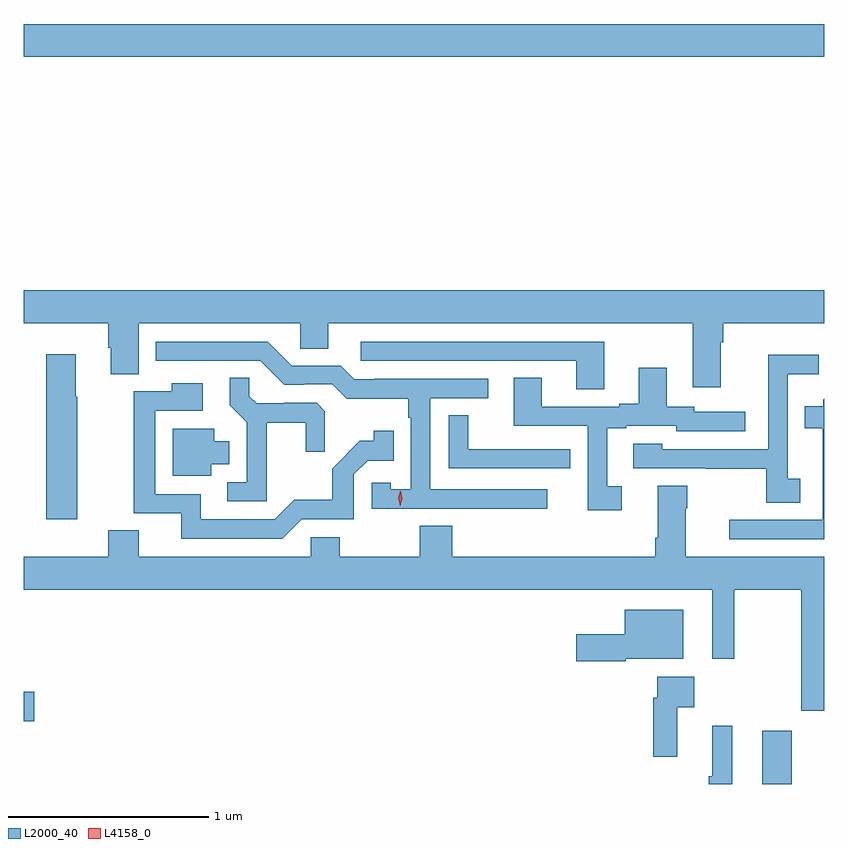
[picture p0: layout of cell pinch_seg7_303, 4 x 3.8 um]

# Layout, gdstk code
import gdstk
lib = gdstk.Library(unit=1e-6, precision=1e-09)
def R(c, l, rs):  # rectangles x0, y0, x1, y1
    for r in rs: c.add(gdstk.rectangle(r[:2], r[2:], *l))
def P(c, l, *ps):  # polygons
    for p in ps: c.add(gdstk.Polygon(p, *l))
L2000_40 = (2000, 40)
L4158_0 = (4158, 0)

pinch_seg7_303 = lib.new_cell('pinch_seg7_303')
R(pinch_seg7_303, L2000_40, [(547.439,1076.901,547.587,1077.166), (543.748,1077.215,543.799,1077.362), (543.748,1080.536,547.748,1080.7)])
P(pinch_seg7_303, L2000_40, [(547.231,1079.108),(547.244,1079.108),(547.244,1079.204),(547.748,1079.204),(547.748,1079.368),(543.748,1079.368),(543.748,1079.204),(544.169,1079.204),(544.169,1079.082),(544.181,1079.082),(544.181,1078.948),(544.321,1078.948),(544.321,1079.204),(545.13,1079.204),(545.13,1079.077),(545.269,1079.077),(545.269,1079.204),(547.091,1079.204),(547.091,1078.884),(547.231,1078.884)],
  [(546.649,1079.112),(545.433,1079.112),(545.433,1079.016),(546.509,1079.016),(546.509,1078.873),(546.649,1078.873)],
  [(546.364,1078.374),(545.778,1078.374),(545.778,1078.83),(546.07,1078.83),(546.07,1078.926),(545.5,1078.926),(545.5,1078.923),(545.4,1078.923),(545.331,1078.992),(545.088,1078.992),(544.968,1079.112),(544.406,1079.112),(544.406,1079.016),(544.929,1079.016),(545.049,1078.896),(545.15,1078.896),(545.15,1078.899),(545.289,1078.899),(545.362,1078.826),(545.67,1078.826),(545.67,1078.733),(545.682,1078.733),(545.682,1078.375),(545.583,1078.375),(545.583,1078.407),(545.487,1078.407),(545.487,1078.278),(545.971,1078.278),(545.971,1078.276),(546.364,1078.276)],
  [(544.014,1078.837),(544.006,1078.837),(544.006,1079.05),(543.86,1079.05),(543.86,1078.224),(544.014,1078.224)],
  [(547.63,1078.428),(547.566,1078.428),(547.566,1078.949),(547.72,1078.949),(547.72,1079.047),(547.468,1079.047),(547.468,1078.808),(547.47,1078.808),(547.47,1078.575),(546.939,1078.575),(546.939,1078.603),(546.795,1078.603),(546.795,1078.479),(547.153,1078.479),(547.153,1078.477),(547.458,1078.477),(547.458,1078.306),(547.63,1078.306)],
  [(546.736,1078.389),(546.664,1078.389),(546.664,1078.68),(546.76,1078.68),(546.76,1078.692),(547.008,1078.692),(547.008,1078.665),(547.354,1078.665),(547.354,1078.761),(547.098,1078.761),(547.098,1078.788),(546.961,1078.788),(546.961,1078.981),(546.821,1078.981),(546.821,1078.801),(546.725,1078.801),(546.725,1078.788),(546.337,1078.788),(546.337,1078.931),(546.197,1078.931),(546.197,1078.692),(546.567,1078.692),(546.567,1078.269),(546.736,1078.269)],
  [(544.961,1078.706),(545.158,1078.706),(545.158,1078.563),(545.252,1078.563),(545.252,1078.765),(545.211,1078.806),(545.046,1078.806),(545.046,1078.803),(544.912,1078.803),(544.875,1078.84),(544.875,1078.931),(544.777,1078.931),(544.777,1078.795),(544.863,1078.709),(544.863,1078.41),(544.764,1078.41),(544.764,1078.314),(544.961,1078.314)],
  [(545.136,1078.224),(545.397,1078.224),(545.397,1078.449),(545.466,1078.518),(545.597,1078.518),(545.597,1078.666),(545.496,1078.666),(545.496,1078.616),(545.426,1078.616),(545.289,1078.478),(545.289,1078.323),(545.1,1078.323),(545.001,1078.224),(544.633,1078.224),(544.633,1078.35),(544.404,1078.35),(544.404,1078.767),(544.642,1078.767),(544.642,1078.903),(544.486,1078.903),(544.486,1078.863),(544.296,1078.863),(544.296,1078.254),(544.535,1078.254),(544.535,1078.128),(545.04,1078.128)],
  [(547.748,1078.826),(547.743,1078.821),(547.743,1078.789),(547.651,1078.789),(547.651,1078.68),(547.742,1078.68),(547.742,1078.221),(547.275,1078.221),(547.275,1078.125),(547.748,1078.125)],
  [(546.478,1078.574),(546.365,1078.574),(546.365,1078.575),(545.97,1078.575),(545.97,1078.745),(545.871,1078.745),(545.871,1078.479),(546.478,1078.479)],
  [(544.684,1078.499),(544.774,1078.499),(544.774,1078.615),(544.699,1078.615),(544.699,1078.678),(544.493,1078.678),(544.493,1078.442),(544.684,1078.442)],
  [(547.748,1078.036),(547.057,1078.036),(547.057,1078.28),(547.065,1078.28),(547.065,1078.393),(546.917,1078.393),(546.917,1078.132),(546.905,1078.132),(546.905,1078.036),(545.888,1078.036),(545.888,1078.193),(545.728,1078.193),(545.728,1078.036),(545.328,1078.036),(545.328,1078.134),(545.181,1078.134),(545.181,1078.036),(544.321,1078.036),(544.321,1078.169),(544.169,1078.169),(544.169,1078.036),(543.748,1078.036),(543.748,1077.872),(547.19,1077.872),(547.19,1077.528),(547.3,1077.528),(547.3,1077.872),(547.634,1077.872),(547.634,1077.266),(547.748,1077.266)],
  [(546.756,1077.527),(547.045,1077.527),(547.045,1077.772),(546.752,1077.772),(546.752,1077.649),(546.51,1077.649),(546.51,1077.515),(546.756,1077.515)],
  [(547.013,1077.284),(547.099,1077.284),(547.099,1077.436),(546.915,1077.436),(546.915,1077.332),(546.895,1077.332),(546.895,1077.036),(547.013,1077.036)],
  [(547.288,1077.193),(547.19,1077.193),(547.19,1076.94),(547.171,1076.94),(547.171,1076.901),(547.288,1076.901)])
P(pinch_seg7_303, L4158_0, [(545.63,1078.293),(545.63,1078.293),(545.62,1078.329),(545.63,1078.365),(545.631,1078.365),(545.631,1078.365),(545.64,1078.329),(545.63,1078.293)])

lib.write_gds('pinch_seg7_303.gds')
